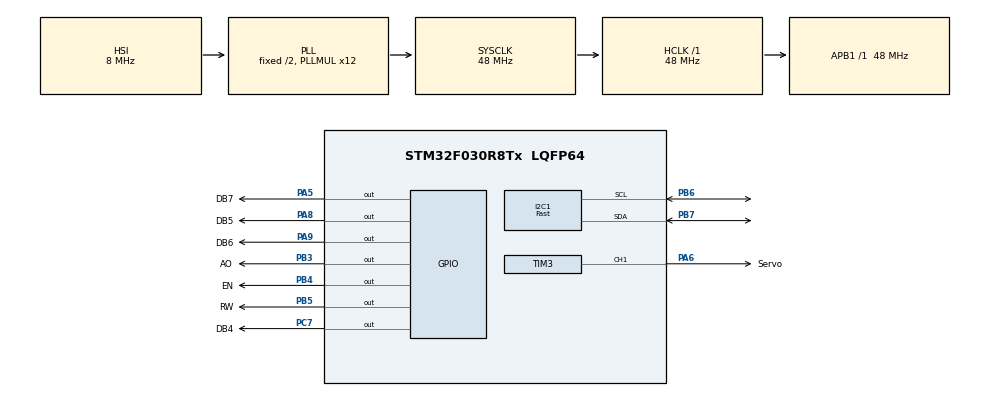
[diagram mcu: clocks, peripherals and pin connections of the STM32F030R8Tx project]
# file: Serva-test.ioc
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I2C1.I2C_Speed_Mode=I2C_Fast
I2C1.Timing=0x0000020B
Mcu.Family=STM32F0
Mcu.Name=STM32F030R8Tx
Mcu.Package=LQFP64
PA5.GPIO_Label=DB7
PA5.Signal=GPIO_Output
PA6.GPIO_Label=Servo
PA6.Signal=S_TIM3_CH1
PA8.GPIO_Label=DB5
PA8.Signal=GPIO_Output
PA9.GPIO_Label=DB6
PA9.Signal=GPIO_Output
PB3.GPIO_Label=AO
PB3.Signal=GPIO_Output
PB4.GPIO_Label=EN
PB4.Signal=GPIO_Output
PB5.GPIO_Label=RW
PB5.Signal=GPIO_Output
PB6.Mode=I2C
PB6.Signal=I2C1_SCL
PB7.Mode=I2C
PB7.Signal=I2C1_SDA
PC7.GPIO_Label=DB4
PC7.Signal=GPIO_Output
ProjectManager.HeapSize=0x200
ProjectManager.StackSize=0x400
ProjectManager.TargetToolchain=STM32CubeIDE
RCC.AHBFreq_Value=48000000
RCC.APB1Freq_Value=48000000
RCC.APB1TimFreq_Value=48000000
RCC.HCLKFreq_Value=48000000
RCC.PLLMUL=RCC_PLL_MUL12
RCC.SYSCLKFreq_VALUE=48000000
RCC.SYSCLKSource=RCC_SYSCLKSOURCE_PLLCLK
SH.S_TIM3_CH1.0=TIM3_CH1,PWM Generation1 CH1
TIM3.Channel-PWM\ Generation1\ CH1=TIM_CHANNEL_1
TIM3.OCFastMode_PWM-PWM\ Generation1\ CH1=TIM_OCFAST_DISABLE
TIM3.Period=1000-1
TIM3.Prescaler=960-1
TIM3.Pulse-PWM\ Generation1\ CH1=0
VP_TIM3_VS_ClockSourceINT.Mode=Internal
board=custom

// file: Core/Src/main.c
/* USER CODE BEGIN Header */
/**
  ******************************************************************************
  * @file           : main.c
  * @brief          : Main program body
  ******************************************************************************
  * @attention
  *
  * Copyright (c) 2023 STMicroelectronics.
  * All rights reserved.
  *
  * This software is licensed under terms that can be found in the LICENSE file
  * in the root directory of this software component.
  * If no LICENSE file comes with this software, it is provided AS-IS.
  *
  ******************************************************************************
  */
/* USER CODE END Header */
#include "main.h"

/* USER CODE BEGIN Includes */
#include "MT-16S2H.h"
#include "Oled1306.h"
/* USER CODE END Includes */

I2C_HandleTypeDef hi2c1;

TIM_HandleTypeDef htim3;

void SystemClock_Config(void);
static void MX_GPIO_Init(void);
static void MX_TIM3_Init(void);
static void MX_I2C1_Init(void);

int main(void)
{

  /* MCU Configuration--------------------------------------------------------*/

  /* Reset of all peripherals, Initializes the Flash interface and the Systick. */
  HAL_Init();

  /* Configure the system clock */
  SystemClock_Config();

  /* Initialize all configured peripherals */
  MX_GPIO_Init();
  MX_TIM3_Init();
  MX_I2C1_Init();
  /* USER CODE BEGIN 2 */
HAL_TIM_PWM_Start(&htim3,Servo_Pin); //включаем тактирование шины
OLED_init();
LCD_Clear();
LCD_Goto(0, 0);
OLED_string("Угол:");

  /* USER CODE END 2 */

  /* Infinite loop */
  /* USER CODE BEGIN WHILE */
  while (1)
  {
	  char num1[10];
	  int a;
	  for(int i = 25, y=0; i<=125; i+=10, y++) // цикл для упрвления сервоприводом
	  {
		  htim3.Instance->CCR1=i;
		  a = 180/10*y;
		  LCD_Goto(0, 1);
		  OLED_num_to_str(a, 3);
		  LCD_Char(0x99);
		  HAL_Delay(1000);
	  }

	     //создаем массив цифр
	     // конвертирование расстояния с цифры в символьное значение

	  //htim3.Instance->CCR1=100;
	  //HAL_Delay(2000);
    /* USER CODE END WHILE */

  }
}

void SystemClock_Config(void)
{
  RCC_OscInitTypeDef RCC_OscInitStruct = {0};
  RCC_ClkInitTypeDef RCC_ClkInitStruct = {0};
  RCC_PeriphCLKInitTypeDef PeriphClkInit = {0};

  /** Initializes the RCC Oscillators according to the specified parameters
  * in the RCC_OscInitTypeDef structure.
  */
  RCC_OscInitStruct.OscillatorType = RCC_OSCILLATORTYPE_HSI;
  RCC_OscInitStruct.HSIState = RCC_HSI_ON;
  RCC_OscInitStruct.HSICalibrationValue = RCC_HSICALIBRATION_DEFAULT;
  RCC_OscInitStruct.PLL.PLLState = RCC_PLL_ON;
  RCC_OscInitStruct.PLL.PLLSource = RCC_PLLSOURCE_HSI;
  RCC_OscInitStruct.PLL.PLLMUL = RCC_PLL_MUL12;
  RCC_OscInitStruct.PLL.PREDIV = RCC_PREDIV_DIV1;
  if (HAL_RCC_OscConfig(&RCC_OscInitStruct) != HAL_OK)
  {
    Error_Handler();
  }

  /** Initializes the CPU, AHB and APB buses clocks
  */
  RCC_ClkInitStruct.ClockType = RCC_CLOCKTYPE_HCLK|RCC_CLOCKTYPE_SYSCLK
                              |RCC_CLOCKTYPE_PCLK1;
  RCC_ClkInitStruct.SYSCLKSource = RCC_SYSCLKSOURCE_PLLCLK;
  RCC_ClkInitStruct.AHBCLKDivider = RCC_SYSCLK_DIV1;
  RCC_ClkInitStruct.APB1CLKDivider = RCC_HCLK_DIV1;

  if (HAL_RCC_ClockConfig(&RCC_ClkInitStruct, FLASH_LATENCY_1) != HAL_OK)
  {
    Error_Handler();
  }
  PeriphClkInit.PeriphClockSelection = RCC_PERIPHCLK_I2C1;
  PeriphClkInit.I2c1ClockSelection = RCC_I2C1CLKSOURCE_HSI;
  if (HAL_RCCEx_PeriphCLKConfig(&PeriphClkInit) != HAL_OK)
  {
    Error_Handler();
  }
}

static void MX_I2C1_Init(void)
{

  hi2c1.Instance = I2C1;
  hi2c1.Init.Timing = 0x0000020B;
  hi2c1.Init.OwnAddress1 = 0;
  hi2c1.Init.AddressingMode = I2C_ADDRESSINGMODE_7BIT;
  hi2c1.Init.DualAddressMode = I2C_DUALADDRESS_DISABLE;
  hi2c1.Init.OwnAddress2 = 0;
  hi2c1.Init.OwnAddress2Masks = I2C_OA2_NOMASK;
  hi2c1.Init.GeneralCallMode = I2C_GENERALCALL_DISABLE;
  hi2c1.Init.NoStretchMode = I2C_NOSTRETCH_DISABLE;
  if (HAL_I2C_Init(&hi2c1) != HAL_OK)
  {
    Error_Handler();
  }

  /** Configure Analogue filter
  */
  if (HAL_I2CEx_ConfigAnalogFilter(&hi2c1, I2C_ANALOGFILTER_ENABLE) != HAL_OK)
  {
    Error_Handler();
  }

  /** Configure Digital filter
  */
  if (HAL_I2CEx_ConfigDigitalFilter(&hi2c1, 0) != HAL_OK)
  {
    Error_Handler();
  }

}

static void MX_TIM3_Init(void)
{

  TIM_ClockConfigTypeDef sClockSourceConfig = {0};
  TIM_MasterConfigTypeDef sMasterConfig = {0};
  TIM_OC_InitTypeDef sConfigOC = {0};

  htim3.Instance = TIM3;
  htim3.Init.Prescaler = 960-1;
  htim3.Init.CounterMode = TIM_COUNTERMODE_UP;
  htim3.Init.Period = 1000-1;
  htim3.Init.ClockDivision = TIM_CLOCKDIVISION_DIV1;
  htim3.Init.AutoReloadPreload = TIM_AUTORELOAD_PRELOAD_DISABLE;
  if (HAL_TIM_Base_Init(&htim3) != HAL_OK)
  {
    Error_Handler();
  }
  sClockSourceConfig.ClockSource = TIM_CLOCKSOURCE_INTERNAL;
  if (HAL_TIM_ConfigClockSource(&htim3, &sClockSourceConfig) != HAL_OK)
  {
    Error_Handler();
  }
  if (HAL_TIM_PWM_Init(&htim3) != HAL_OK)
  {
    Error_Handler();
  }
  sMasterConfig.MasterOutputTrigger = TIM_TRGO_RESET;
  sMasterConfig.MasterSlaveMode = TIM_MASTERSLAVEMODE_DISABLE;
  if (HAL_TIMEx_MasterConfigSynchronization(&htim3, &sMasterConfig) != HAL_OK)
  {
    Error_Handler();
  }
  sConfigOC.OCMode = TIM_OCMODE_PWM1;
  sConfigOC.Pulse = 0;
  sConfigOC.OCPolarity = TIM_OCPOLARITY_HIGH;
  sConfigOC.OCFastMode = TIM_OCFAST_DISABLE;
  if (HAL_TIM_PWM_ConfigChannel(&htim3, &sConfigOC, TIM_CHANNEL_1) != HAL_OK)
  {
    Error_Handler();
  }
  HAL_TIM_MspPostInit(&htim3);

}

static void MX_GPIO_Init(void)
{
  GPIO_InitTypeDef GPIO_InitStruct = {0};

  /* GPIO Ports Clock Enable */
  __HAL_RCC_GPIOA_CLK_ENABLE();
  __HAL_RCC_GPIOC_CLK_ENABLE();
  __HAL_RCC_GPIOB_CLK_ENABLE();

  /*Configure GPIO pin Output Level */
  HAL_GPIO_WritePin(GPIOA, DB7_Pin|DB5_Pin|DB6_Pin, GPIO_PIN_RESET);

  /*Configure GPIO pin Output Level */
  HAL_GPIO_WritePin(DB4_GPIO_Port, DB4_Pin, GPIO_PIN_RESET);

  /*Configure GPIO pin Output Level */
  HAL_GPIO_WritePin(GPIOB, AO_Pin|EN_Pin|RW_Pin, GPIO_PIN_RESET);

  /*Configure GPIO pins : DB7_Pin DB5_Pin DB6_Pin */
  GPIO_InitStruct.Pin = DB7_Pin|DB5_Pin|DB6_Pin;
  GPIO_InitStruct.Mode = GPIO_MODE_OUTPUT_PP;
  GPIO_InitStruct.Pull = GPIO_NOPULL;
  GPIO_InitStruct.Speed = GPIO_SPEED_FREQ_LOW;
  HAL_GPIO_Init(GPIOA, &GPIO_InitStruct);

  /*Configure GPIO pin : DB4_Pin */
  GPIO_InitStruct.Pin = DB4_Pin;
  GPIO_InitStruct.Mode = GPIO_MODE_OUTPUT_PP;
  GPIO_InitStruct.Pull = GPIO_NOPULL;
  GPIO_InitStruct.Speed = GPIO_SPEED_FREQ_LOW;
  HAL_GPIO_Init(DB4_GPIO_Port, &GPIO_InitStruct);

  /*Configure GPIO pins : AO_Pin EN_Pin RW_Pin */
  GPIO_InitStruct.Pin = AO_Pin|EN_Pin|RW_Pin;
  GPIO_InitStruct.Mode = GPIO_MODE_OUTPUT_PP;
  GPIO_InitStruct.Pull = GPIO_NOPULL;
  GPIO_InitStruct.Speed = GPIO_SPEED_FREQ_LOW;
  HAL_GPIO_Init(GPIOB, &GPIO_InitStruct);

}

void Error_Handler(void)
{
  __disable_irq();
  while (1)
  {
  }
}
